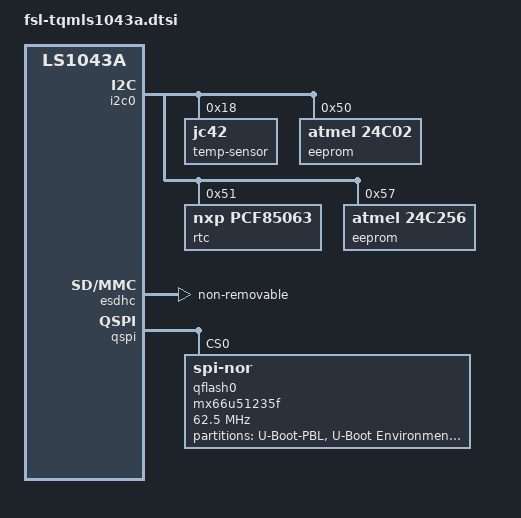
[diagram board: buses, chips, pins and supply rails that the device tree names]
// SPDX-License-Identifier: (GPL-2.0+ OR MIT)
/*
 * Device Tree Include file for LS1043A based SoM of TQ
 *
 * Copyright 2019 TQ-Systems GmbH
 */

#include "fsl-ls1043a.dtsi"

&i2c0 {
	status = "okay";

	temp-sensor@18 {
		compatible = "jc42";
		reg = <0x18>;
	};

	eeprom@50 {
		compatible = "atmel,24c02";
		reg = <0x50>;
	};

	rtc@51 {
		compatible = "nxp,pcf85063";
		reg = <0x51>;
	};

	eeprom@57 {
		compatible = "atmel,24c256";
		reg = <0x57>;
	};
};

&esdhc {
	non-removable;
	disable-wp;

	mmc-hs200-1_8v;
	sd-uhs-sdr104;
	sd-uhs-sdr50;
	sd-uhs-sdr25;
	sd-uhs-sdr12;

};

&qspi {
	num-cs = <2>;
	bus-num = <0>;
	status = "okay";
	fsl,qspi-has-second-chip;

	qflash0: mx66u51235f@0 {
		#address-cells = <1>;
		#size-cells = <1>;
		compatible = "jedec,spi-nor";
		spi-max-frequency = <62500000>;
		reg = <0>;

		partitions {
			compatible = "fixed-partitions";
			#address-cells = <1>;
			#size-cells = <1>;

			uboot@0 {
				label = "U-Boot-PBL";
				reg = <0x0 0xd0000>;
			};

			env@d0000 {
				label = "U-Boot Environment";
				reg = <0xd0000 0x10000>;
			};

			fman@e0000 {
				label = "Fman Microcode";
				reg = <0xe0000 0x10000>;
			};

			dtb@f0000 {
				label = "DTB";
				reg = <0xf0000 0x10000>;
			};

			linux@100000 {
				label = "Linux";
				reg = <0x100000 0x1700000>;
			};

			rootfs@1800000 {
				label = "RootFS";
				reg = <0x1800000 0x2800000>;
			};
		};
	};
};
